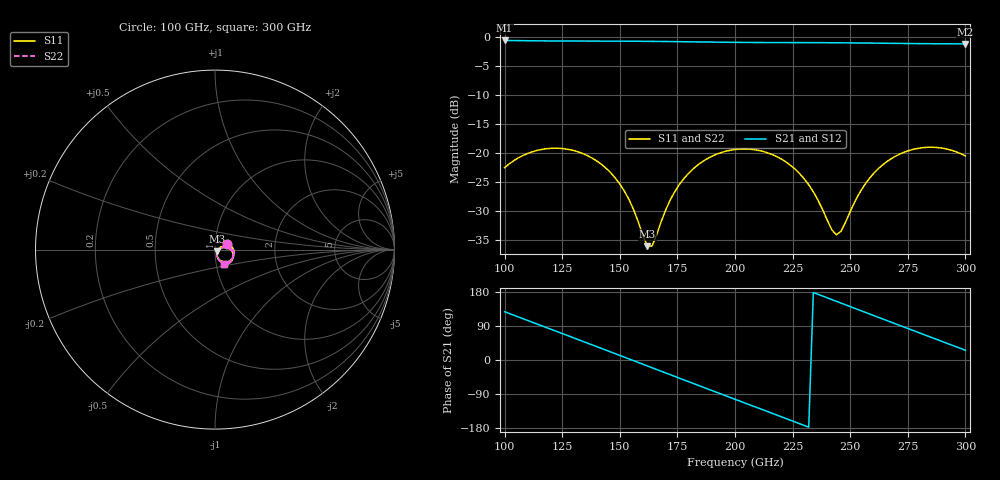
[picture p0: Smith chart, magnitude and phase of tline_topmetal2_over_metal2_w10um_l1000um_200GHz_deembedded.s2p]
! Created with skrf 2.2.0 (http://scikit-rf.org).
# GHz S DB R 50.0
! Port[1] = P1
! Port[2] = P2
!freq dBS11 angS11 dBS21 angS21 dBS12 angS12 dBS22 angS22
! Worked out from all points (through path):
!   101 points, 100 GHz to 300 GHz, reference 50 ohm
!   highest |S21| = -0.66 dB at 100 GHz (marker M1); lowest = -1.2 dB at 300 GHz (marker M2)
!   group delay of S21, straight-line fit = 6.42 ps
!   lowest |S11| = -36.0 dB at 162 GHz (marker M3), VSWR 1.03, Z = 51.3 - j0.952 ohm
!   |S11| at or under -10 dB: start of sweep to end of sweep
!   |S22| runs from -36.0 to -19.0 dB; largest |S21 - S12| = 1.5e-12
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100  -22.51 23.4  -0.66 127.4  -0.66 127.4  -22.51 23.2
108  -20.41 8.6  -0.70 108.9  -0.70 108.9  -20.41 8.4
116  -19.39 -7.1  -0.73 90.5  -0.73 90.5  -19.39 -7.3
124  -19.20 -22.9  -0.76 72.2  -0.76 72.2  -19.20 -23.2
134  -20.10 -42.6  -0.77 49.1  -0.77 49.1  -20.10 -42.8
150  -25.31 -69.0  -0.78 12.1  -0.78 12.1  -25.31 -69.3
156  -29.73 -70.2  -0.80 -1.8  -0.80 -1.8  -29.74 -70.5
162  -36.00 -35.8  -0.81 -15.8  -0.81 -15.8  -36.00 -36.1
164  -35.95 -9.7  -0.82 -20.4  -0.82 -20.4  -35.96 -9.9
168  -31.74 19.7  -0.83 -29.7  -0.83 -29.7  -31.74 19.4
174  -26.54 24.2  -0.86 -43.6  -0.86 -43.6  -26.54 23.9
180  -23.42 17.5  -0.89 -57.5  -0.89 -57.5  -23.42 17.1
190  -20.55 0.5  -0.94 -80.6  -0.94 -80.6  -20.55 0.2
200  -19.39 -18.3  -0.99 -103.6  -0.99 -103.6  -19.40 -18.7
208  -19.40 -33.6  -1.01 -122.0  -1.01 -122.0  -19.41 -34.0
218  -20.59 -52.0  -1.03 -145.0  -1.03 -145.0  -20.59 -52.5
234  -26.67 -72.3  -1.04 178.1  -1.04 178.1  -26.69 -72.9
244  -34.04 -31.5  -1.06 154.9  -1.06 154.9  -34.18 -31.7
256  -25.62 13.5  -1.10 127.0  -1.10 127.0  -25.64 13.6
268  -20.93 -1.9  -1.16 99.3  -1.16 99.3  -20.94 -1.9
284  -19.01 -30.9  -1.22 62.5  -1.22 62.5  -19.01 -30.9
300  -20.50 -59.7  -1.25 25.7  -1.25 25.7  -20.50 -59.5
